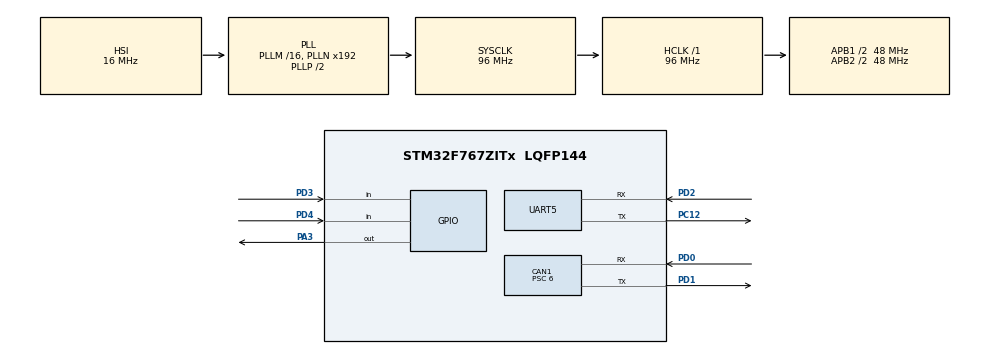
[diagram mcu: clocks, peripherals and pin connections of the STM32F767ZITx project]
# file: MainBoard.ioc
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CAN1.BS1=CAN_BS1_13TQ
CAN1.BS2=CAN_BS2_4TQ
CAN1.CalculateBaudRate=444444
CAN1.CalculateTimeBit=2250.00
CAN1.CalculateTimeQuantum=125.0
CAN1.Prescaler=6
Mcu.Family=STM32F7
Mcu.Name=STM32F767ZITx
Mcu.Package=LQFP144
NVIC.CAN1_RX0_IRQn=true\:0\:0\:false\:false\:true\:true\:true
NVIC.PriorityGroup=NVIC_PRIORITYGROUP_4
NVIC.UART5_IRQn=true\:0\:0\:false\:false\:true\:true\:true
PA3.Signal=GPIO_Output
PC12.Mode=Asynchronous
PC12.Signal=UART5_TX
PD0.Mode=CAN_Activate
PD0.Signal=CAN1_RX
PD1.Mode=CAN_Activate
PD1.Signal=CAN1_TX
PD2.Mode=Asynchronous
PD2.Signal=UART5_RX
PD3.Signal=GPIO_Input
PD4.Signal=GPIO_Input
ProjectManager.HeapSize=0x200
ProjectManager.StackSize=0x400
ProjectManager.TargetToolchain=STM32CubeIDE
RCC.AHBFreq_Value=96000000
RCC.APB1CLKDivider=RCC_HCLK_DIV2
RCC.APB1Freq_Value=48000000
RCC.APB1TimFreq_Value=96000000
RCC.APB2CLKDivider=RCC_HCLK_DIV2
RCC.APB2Freq_Value=48000000
RCC.APB2TimFreq_Value=96000000
RCC.CortexFreq_Value=96000000
RCC.HCLKFreq_Value=96000000
RCC.HSE_VALUE=25000000
RCC.HSI_VALUE=16000000
RCC.LSE_VALUE=32768
RCC.SYSCLKFreq_VALUE=96000000
RCC.SYSCLKSource=RCC_SYSCLKSOURCE_PLLCLK
RCC.USBFreq_Value=96000000
RCC.VCOOutputFreq_Value=192000000
board=custom

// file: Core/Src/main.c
/* USER CODE BEGIN Header */
/**
  ******************************************************************************
  * @file           : main.c
  * @brief          : Main program body
  ******************************************************************************
  * @attention
  *
  * <h2><center>&copy; Copyright (c) 2021 STMicroelectronics.
  * All rights reserved.</center></h2>
  *
  * This software component is licensed by ST under BSD 3-Clause license,
  * the "License"; You may not use this file except in compliance with the
  * License. You may obtain a copy of the License at:
  *                        opensource.org/licenses/BSD-3-Clause
  *
  ******************************************************************************
  */
/* USER CODE END Header */
#include "main.h"

CAN_HandleTypeDef hcan1;

UART_HandleTypeDef huart5;

void SystemClock_Config(void);
static void MX_GPIO_Init(void);
static void MX_CAN1_Init(void);
static void MX_UART5_Init(void);

/* USER CODE BEGIN 0 */

extern void initialise_monitor_handles(void);

void Send_Data();

uint8_t UART5_Data;
int8_t lx,ly;
int sirial_step=0;
uint8_t hand_UD='N';
uint8_t hand_OC='N';
uint8_t hand_shrink='N';
uint8_t hand_interval='N';
uint8_t hand_rotate='N';
uint8_t hand_root_Rotate='N';
uint8_t shooter_start='F';

uint8_t speed_control='N';
uint8_t speed_button_off=1;

void HAL_UART_RxCpltCallback(UART_HandleTypeDef *huart)
{
	if(huart->Instance==UART5)
	{

		switch(sirial_step){
		case 0:

			 if(HAL_UART_Receive_IT(&huart5, (uint8_t*) &UART5_Data, 1)==HAL_OK){
			 //sirial_step++;

				 if(UART5_Data=='i'){
					 //sirial_step=2;
				 }
				 else if(UART5_Data=='A'){
					 hand_rotate='L';
					 //HAL_GPIO_WritePin(GPIOA, GPIO_PIN_3, GPIO_PIN_SET);
				 }
				 else if(UART5_Data=='V'){
					 hand_rotate='N';
				 }
				 else if(UART5_Data=='C'){
					 hand_rotate='R';
					 //HAL_GPIO_WritePin(GPIOA, GPIO_PIN_3, GPIO_PIN_RESET);
				 }
				 else if(UART5_Data=='e'){
					 hand_UD='U';
				 }
				 else if(UART5_Data=='F'){
				 	 hand_UD='N';
				 }
				 else if(UART5_Data=='g'){
					 hand_UD='D';
				 }
				 else if(UART5_Data=='k'){
					 hand_shrink='S';
				 }
				 else if(UART5_Data=='L'){
					 hand_shrink='N';
				 }
				 else if(UART5_Data=='m'){
					 hand_shrink='E';
				 }
				 else if(UART5_Data=='o'){
					 hand_interval='L';
				 }
				 else if(UART5_Data=='P'){
					 hand_interval='N';
				 }
				 else if(UART5_Data=='q'){
					 hand_interval='S';
				 }
				 else if(UART5_Data=='s'){
					 hand_OC='O';
				 }
				 else if(UART5_Data=='T'){
					 hand_OC='N';
				 }
				 else if(UART5_Data=='u'){
					 hand_OC='C';
				 }
				 else if(UART5_Data=='y'){
					 speed_button_off=1;
				 }
				 else if(UART5_Data=='w'){
					 if(speed_button_off==1){
						 speed_button_off=0;
						 if(speed_control=='S'){
							 speed_control='N';
						 }
						 else{
							 speed_control='S';
						 }
					 }
				 }
				 else if(UART5_Data=='a'){
					 //speed_control=1.0;
					 hand_root_Rotate='L';
				 }
				 else if(UART5_Data=='X'){
					 hand_root_Rotate='N';
				 }
				 else if(UART5_Data=='c'){
					 //speed_control=0.1;
					 hand_root_Rotate='R';
				 }
				 else if(UART5_Data=='N'){
					 shooter_start='T';
				 }

			 }

			break;

/*
		case 1:
			if(HAL_UART_Receive_IT(&huart5, (uint8_t*) &lx, 1)==HAL_OK){
				sirial_step=2;
			}
			break;

		case 2:
			lx=(int8_t)UART5_Data;
			if(HAL_UART_Receive_IT(&huart5, (uint8_t*) &ly, 1)==HAL_OK){

				Send_Data_To_Omni();
				sirial_step=0;
			}

			break;
*/

		default:
			break;

		}

	}
}

/*
float m_x,m_y,m_length,m_direction;
float pd4=atan2(-1.0,1.0);// ??��?��?/4
int8_t send_FA_data=0;
int8_t send_FB_data=0;
int8_t send_BA_data=0;
int8_t send_BB_data=0;
*/

uint32_t id;
uint32_t dlc;
int8_t data[8];

CAN_TxHeaderTypeDef TxHeader;
uint32_t TxMailbox;
uint8_t TxData[8];

CAN_FilterTypeDef filter;
void Filter_Init(){
	filter.FilterIdHigh         = 0;
	filter.FilterIdLow          = 0;
	filter.FilterMaskIdHigh     = 0;
	filter.FilterMaskIdLow      = 0;
	filter.FilterScale          = CAN_FILTERSCALE_32BIT;
	filter.FilterFIFOAssignment = CAN_FILTER_FIFO0;
	filter.FilterBank           = 0;
	filter.FilterMode           = CAN_FILTERMODE_IDMASK;
	filter.SlaveStartFilterBank = 14;
	filter.FilterActivation     = ENABLE;
	HAL_CAN_ConfigFilter(&hcan1, &filter);
}

void Send_Data(){

	if(0 < HAL_CAN_GetTxMailboxesFreeLevel(&hcan1)){

		  TxHeader.StdId = 0x552;
		  TxHeader.RTR = CAN_RTR_DATA;
		  TxHeader.IDE = CAN_ID_STD;
		  TxHeader.DLC = 8;
		  TxHeader.TransmitGlobalTime = DISABLE;
		  TxData[0] = hand_UD;
		  TxData[1] = hand_OC;
		  TxData[2] = hand_shrink;
		  TxData[3] = hand_interval;
		  TxData[4] = hand_rotate;
		  TxData[5] = hand_root_Rotate;
		  TxData[6] = shooter_start;
		  TxData[7] = speed_control;
		  if(HAL_CAN_AddTxMessage(&hcan1, &TxHeader, TxData, &TxMailbox)==HAL_OK){
			  //HAL_GPIO_WritePin(GPIOA, GPIO_PIN_3, GPIO_PIN_SET);
		  }
		  shooter_start='F';
	 }
}

uint8_t InputData[2];

void Send_Data2(){

	if(0 < HAL_CAN_GetTxMailboxesFreeLevel(&hcan1)){

		if(HAL_GPIO_ReadPin(GPIOD, GPIO_PIN_3) == GPIO_PIN_RESET)
		{
			InputData[0]='F';
		}
		else{
			InputData[0]='T';
		}

		if(HAL_GPIO_ReadPin(GPIOD, GPIO_PIN_4) == GPIO_PIN_RESET)
		{
			InputData[1]='F';
		}
		else{
			InputData[1]='T';
		}

		  TxHeader.StdId = 0x334;
		  TxHeader.RTR = CAN_RTR_DATA;
		  TxHeader.IDE = CAN_ID_STD;
		  TxHeader.DLC = 8;
		  TxHeader.TransmitGlobalTime = DISABLE;
		  TxData[0] = InputData[0];
		  TxData[1] = InputData[1];
		  TxData[2] = 0x33;
		  TxData[3] = 0x44;
		  TxData[4] = 0x55;
		  TxData[5] = 0x66;
		  TxData[6] = 0x77;
		  TxData[7] = 0x88;
		  if(HAL_CAN_AddTxMessage(&hcan1, &TxHeader, TxData, &TxMailbox)==HAL_OK){
			  //HAL_GPIO_WritePin(GPIOA, GPIO_PIN_3, GPIO_PIN_SET);
		  }
	 }
}

/* USER CODE END 0 */

int main(void)
{

  /* MCU Configuration--------------------------------------------------------*/

  /* Reset of all peripherals, Initializes the Flash interface and the Systick. */
  HAL_Init();

  /* Configure the system clock */
  SystemClock_Config();

  /* Initialize all configured peripherals */
  MX_GPIO_Init();
  MX_CAN1_Init();
  MX_UART5_Init();
  /* USER CODE BEGIN 2 */

  HAL_UART_Receive_IT(&huart5, (uint8_t*) &UART5_Data, 1);
  HAL_CAN_Start(&hcan1);
  Filter_Init();
  HAL_CAN_ActivateNotification(&hcan1, CAN_IT_RX_FIFO0_MSG_PENDING);
  initialise_monitor_handles();

  /* USER CODE END 2 */

  /* Infinite loop */
  while (1)
  {

    /* USER CODE BEGIN 3 */
	  Send_Data();
	  Send_Data2();
  }
  /* USER CODE END 3 */
}

void SystemClock_Config(void)
{
  RCC_OscInitTypeDef RCC_OscInitStruct = {0};
  RCC_ClkInitTypeDef RCC_ClkInitStruct = {0};
  RCC_PeriphCLKInitTypeDef PeriphClkInitStruct = {0};

  /** Configure the main internal regulator output voltage
  */
  __HAL_RCC_PWR_CLK_ENABLE();
  __HAL_PWR_VOLTAGESCALING_CONFIG(PWR_REGULATOR_VOLTAGE_SCALE3);
  /** Initializes the RCC Oscillators according to the specified parameters
  * in the RCC_OscInitTypeDef structure.
  */
  RCC_OscInitStruct.OscillatorType = RCC_OSCILLATORTYPE_HSI;
  RCC_OscInitStruct.HSIState = RCC_HSI_ON;
  RCC_OscInitStruct.HSICalibrationValue = RCC_HSICALIBRATION_DEFAULT;
  RCC_OscInitStruct.PLL.PLLState = RCC_PLL_ON;
  RCC_OscInitStruct.PLL.PLLSource = RCC_PLLSOURCE_HSI;
  RCC_OscInitStruct.PLL.PLLM = 16;
  RCC_OscInitStruct.PLL.PLLN = 192;
  RCC_OscInitStruct.PLL.PLLP = RCC_PLLP_DIV2;
  RCC_OscInitStruct.PLL.PLLQ = 2;
  if (HAL_RCC_OscConfig(&RCC_OscInitStruct) != HAL_OK)
  {
    Error_Handler();
  }
  /** Activate the Over-Drive mode
  */
  if (HAL_PWREx_EnableOverDrive() != HAL_OK)
  {
    Error_Handler();
  }
  /** Initializes the CPU, AHB and APB buses clocks
  */
  RCC_ClkInitStruct.ClockType = RCC_CLOCKTYPE_HCLK|RCC_CLOCKTYPE_SYSCLK
                              |RCC_CLOCKTYPE_PCLK1|RCC_CLOCKTYPE_PCLK2;
  RCC_ClkInitStruct.SYSCLKSource = RCC_SYSCLKSOURCE_PLLCLK;
  RCC_ClkInitStruct.AHBCLKDivider = RCC_SYSCLK_DIV1;
  RCC_ClkInitStruct.APB1CLKDivider = RCC_HCLK_DIV2;
  RCC_ClkInitStruct.APB2CLKDivider = RCC_HCLK_DIV2;

  if (HAL_RCC_ClockConfig(&RCC_ClkInitStruct, FLASH_LATENCY_3) != HAL_OK)
  {
    Error_Handler();
  }
  PeriphClkInitStruct.PeriphClockSelection = RCC_PERIPHCLK_UART5;
  PeriphClkInitStruct.Uart5ClockSelection = RCC_UART5CLKSOURCE_PCLK1;
  if (HAL_RCCEx_PeriphCLKConfig(&PeriphClkInitStruct) != HAL_OK)
  {
    Error_Handler();
  }
}

static void MX_CAN1_Init(void)
{

  hcan1.Instance = CAN1;
  hcan1.Init.Prescaler = 6;
  hcan1.Init.Mode = CAN_MODE_NORMAL;
  hcan1.Init.SyncJumpWidth = CAN_SJW_1TQ;
  hcan1.Init.TimeSeg1 = CAN_BS1_13TQ;
  hcan1.Init.TimeSeg2 = CAN_BS2_4TQ;
  hcan1.Init.TimeTriggeredMode = DISABLE;
  hcan1.Init.AutoBusOff = DISABLE;
  hcan1.Init.AutoWakeUp = DISABLE;
  hcan1.Init.AutoRetransmission = DISABLE;
  hcan1.Init.ReceiveFifoLocked = DISABLE;
  hcan1.Init.TransmitFifoPriority = DISABLE;
  if (HAL_CAN_Init(&hcan1) != HAL_OK)
  {
    Error_Handler();
  }

}

static void MX_UART5_Init(void)
{

  huart5.Instance = UART5;
  huart5.Init.BaudRate = 115200;
  huart5.Init.WordLength = UART_WORDLENGTH_8B;
  huart5.Init.StopBits = UART_STOPBITS_1;
  huart5.Init.Parity = UART_PARITY_NONE;
  huart5.Init.Mode = UART_MODE_TX_RX;
  huart5.Init.HwFlowCtl = UART_HWCONTROL_NONE;
  huart5.Init.OverSampling = UART_OVERSAMPLING_16;
  huart5.Init.OneBitSampling = UART_ONE_BIT_SAMPLE_DISABLE;
  huart5.AdvancedInit.AdvFeatureInit = UART_ADVFEATURE_NO_INIT;
  if (HAL_UART_Init(&huart5) != HAL_OK)
  {
    Error_Handler();
  }

}

static void MX_GPIO_Init(void)
{
  GPIO_InitTypeDef GPIO_InitStruct = {0};

  /* GPIO Ports Clock Enable */
  __HAL_RCC_GPIOA_CLK_ENABLE();
  __HAL_RCC_GPIOC_CLK_ENABLE();
  __HAL_RCC_GPIOD_CLK_ENABLE();

  /*Configure GPIO pin Output Level */
  HAL_GPIO_WritePin(GPIOA, GPIO_PIN_3, GPIO_PIN_RESET);

  /*Configure GPIO pin : PA3 */
  GPIO_InitStruct.Pin = GPIO_PIN_3;
  GPIO_InitStruct.Mode = GPIO_MODE_OUTPUT_PP;
  GPIO_InitStruct.Pull = GPIO_NOPULL;
  GPIO_InitStruct.Speed = GPIO_SPEED_FREQ_LOW;
  HAL_GPIO_Init(GPIOA, &GPIO_InitStruct);

  /*Configure GPIO pins : PD3 PD4 */
  GPIO_InitStruct.Pin = GPIO_PIN_3|GPIO_PIN_4;
  GPIO_InitStruct.Mode = GPIO_MODE_INPUT;
  GPIO_InitStruct.Pull = GPIO_NOPULL;
  HAL_GPIO_Init(GPIOD, &GPIO_InitStruct);

}

void Error_Handler(void)
{
  __disable_irq();
  while (1)
  {
  }
}

/************************ (C) COPYRIGHT STMicroelectronics *****END OF FILE****/
